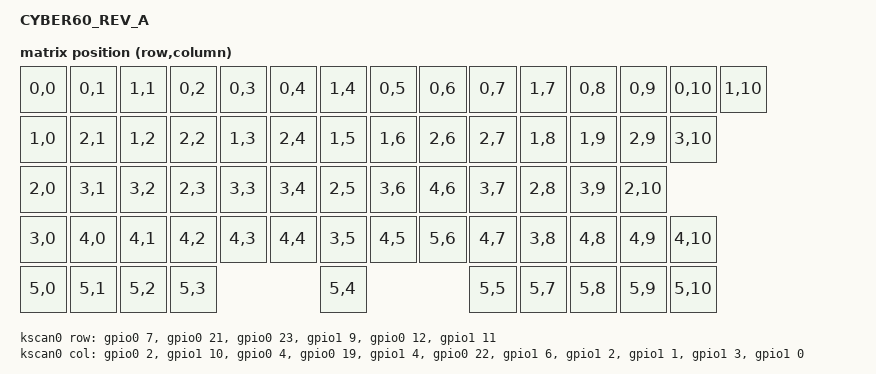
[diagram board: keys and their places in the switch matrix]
/*
 * Copyright (c) 2020 Stefan Sundin (4pplet)
 *
 * SPDX-License-Identifier: MIT
 */

#include <dt-bindings/zmk/matrix_transform.h>

/ {
    model = "CYBER60_REV_A";
    compatible = "applet,cyber60";

    chosen {
        zmk,kscan = &kscan0;
        zmk,matrix-transform = &default_transform;
        zmk,battery = &vbatt;
        zephyr,console = &cdc_acm_uart;
    };

    vbatt: vbatt {
        compatible = "zmk,battery-voltage-divider";
        io-channels = <&adc 1>;
        output-ohms = <100000>;
        full-ohms = <(1000000 + 2000000)>;
        power-gpios = <&gpio1 15 GPIO_ACTIVE_HIGH>;
    };

    leds {
        compatible = "gpio-leds";
        led_1: led_red {
            gpios = <&gpio1 13 GPIO_ACTIVE_LOW>;
        };
        led_0: led_green {
            gpios = <&gpio0 28 GPIO_ACTIVE_LOW>;
        };
        led_2: led_blue {
            gpios = <&gpio0 5 GPIO_ACTIVE_LOW>;
        };
    };

    aliases {
        ledgreen = &led_0;
        ledred   = &led_1;
        ledblue  = &led_2;
    };

    default_transform: keymap_transform_0 {
        compatible = "zmk,matrix-transform";
        columns = <11>;
        rows = <6>;
        map = <
            RC(0,0) RC(0,1) RC(1,1) RC(0,2) RC(0,3) RC(0,4) RC(1,4) RC(0,5) RC(0,6) RC(0,7) RC(1,7) RC(0,8) RC(0,9) RC(0,10) RC(1,10)
            RC(1,0) RC(2,1) RC(1,2) RC(2,2) RC(1,3) RC(2,4) RC(1,5) RC(1,6) RC(2,6) RC(2,7) RC(1,8) RC(1,9) RC(2,9) RC(3,10)
            RC(2,0) RC(3,1) RC(3,2) RC(2,3) RC(3,3) RC(3,4) RC(2,5) RC(3,6) RC(4,6) RC(3,7) RC(2,8) RC(3,9) RC(2,10)
            RC(3,0) RC(4,0) RC(4,1) RC(4,2) RC(4,3) RC(4,4) RC(3,5) RC(4,5) RC(5,6) RC(4,7) RC(3,8) RC(4,8) RC(4,9) RC(4,10)
            RC(5,0) RC(5,1) RC(5,2) RC(5,3)                 RC(5,4)                 RC(5,5) RC(5,7) RC(5,8) RC(5,9) RC(5,10)
        >;
    };

    kscan0: kscan {
        compatible = "zmk,kscan-gpio-matrix";
        wakeup-source;
        diode-direction = "col2row";
        row-gpios
            = <&gpio0 7  (GPIO_ACTIVE_HIGH | GPIO_PULL_DOWN)>
            , <&gpio0 21 (GPIO_ACTIVE_HIGH | GPIO_PULL_DOWN)>
            , <&gpio0 23 (GPIO_ACTIVE_HIGH | GPIO_PULL_DOWN)>
            , <&gpio1 9 (GPIO_ACTIVE_HIGH | GPIO_PULL_DOWN)>
            , <&gpio0 12 (GPIO_ACTIVE_HIGH | GPIO_PULL_DOWN)>
            , <&gpio1 11 (GPIO_ACTIVE_HIGH | GPIO_PULL_DOWN)>
            ;
        col-gpios
            = <&gpio0 2  GPIO_ACTIVE_HIGH>
            , <&gpio1 10  GPIO_ACTIVE_HIGH>
            , <&gpio0 4  GPIO_ACTIVE_HIGH>
            , <&gpio0 19 GPIO_ACTIVE_HIGH>
            , <&gpio1 4 GPIO_ACTIVE_HIGH>
            , <&gpio0 22  GPIO_ACTIVE_HIGH>
            , <&gpio1 6 GPIO_ACTIVE_HIGH>
            , <&gpio1 2  GPIO_ACTIVE_HIGH>
            , <&gpio1 1  GPIO_ACTIVE_HIGH>
            , <&gpio1 3  GPIO_ACTIVE_HIGH>
            , <&gpio1 0  GPIO_ACTIVE_HIGH>
            ;
    };
};

&usbd {
    cdc_acm_uart: cdc_acm_uart {
        compatible = "zephyr,cdc-acm-uart";
    };
};
